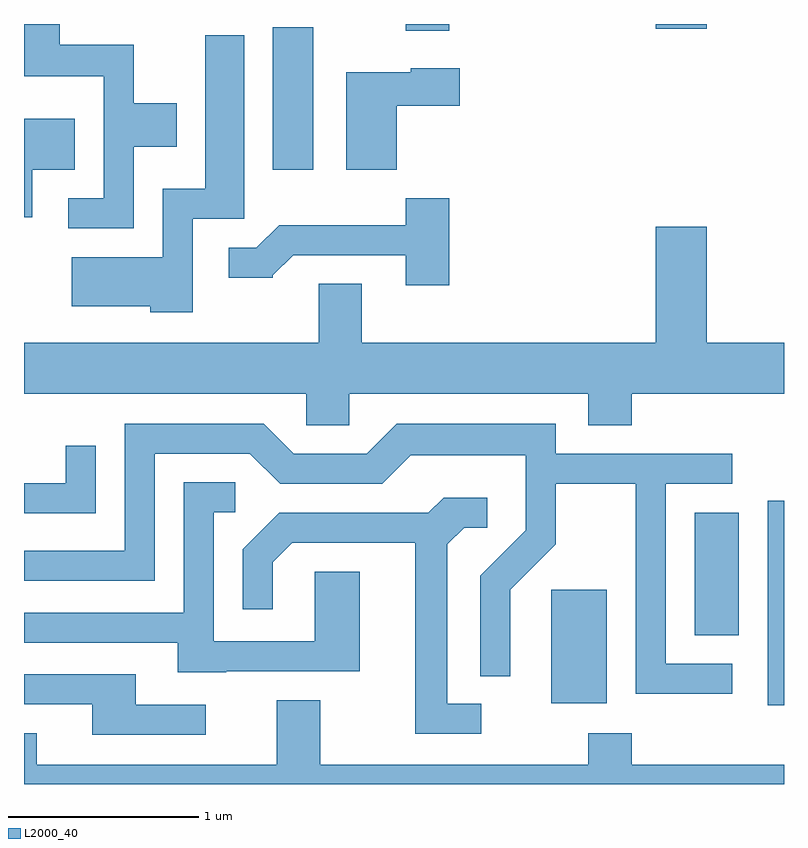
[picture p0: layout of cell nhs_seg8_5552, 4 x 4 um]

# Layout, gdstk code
import gdstk
lib = gdstk.Library(unit=1e-6, precision=1e-09)
def R(c, l, rs):  # rectangles x0, y0, x1, y1
    for r in rs: c.add(gdstk.rectangle(r[:2], r[2:], *l))
def P(c, l, *ps):  # polygons
    for p in ps: c.add(gdstk.Polygon(p, *l))
L2000_40 = (2000, 40)

nhs_seg8_5552 = lib.new_cell('nhs_seg8_5552')
R(nhs_seg8_5552, L2000_40, [(355.526,1854.756,355.611,1855.834), (354.386,1854.766,354.679,1855.364), (355.141,1855.126,355.374,1855.769), (352.921,1857.576,353.134,1858.324), (353.621,1858.306,353.849,1858.342), (354.936,1858.316,355.204,1858.342)])
P(nhs_seg8_5552, L2000_40, [(352.189,1857.696),(352.414,1857.696),(352.414,1857.924),(352.189,1857.924),(352.189,1858.234),(351.799,1858.234),(351.799,1858.342),(351.611,1858.342),(351.611,1858.066),(352.031,1858.066),(352.031,1857.424),(351.843,1857.424),(351.843,1857.266),(352.189,1857.266)],
  [(352.499,1857.316),(352.769,1857.316),(352.769,1858.284),(352.566,1858.284),(352.566,1857.474),(352.341,1857.474),(352.341,1857.114),(351.861,1857.114),(351.861,1856.856),(352.276,1856.856),(352.276,1856.826),(352.499,1856.826)],
  [(353.574,1857.911),(353.904,1857.911),(353.904,1858.109),(353.646,1858.109),(353.646,1858.089),(353.306,1858.089),(353.306,1857.576),(353.574,1857.576)],
  [(351.654,1857.576),(351.879,1857.576),(351.879,1857.844),(351.611,1857.844),(351.611,1857.326),(351.654,1857.326)],
  [(353.849,1857.424),(353.621,1857.424),(353.621,1857.284),(352.954,1857.284),(352.834,1857.164),(352.688,1857.164),(352.688,1857.006),(352.92,1857.006),(352.92,1857.02),(353.027,1857.126),(353.621,1857.126),(353.621,1856.966),(353.849,1856.966)],
  [(353.324,1856.396),(354.581,1856.396),(354.581,1856.231),(354.809,1856.231),(354.809,1856.396),(355.611,1856.396),(355.611,1856.664),(355.204,1856.664),(355.204,1857.274),(354.936,1857.274),(354.936,1856.664),(353.389,1856.664),(353.389,1856.974),(353.161,1856.974),(353.161,1856.664),(351.611,1856.664),(351.611,1856.396),(353.096,1856.396),(353.096,1856.231),(353.324,1856.231)],
  [(355.338,1854.974),(354.989,1854.974),(354.989,1855.921),(355.338,1855.921),(355.338,1856.079),(354.409,1856.079),(354.409,1856.239),(353.574,1856.239),(353.414,1856.079),(353.032,1856.079),(352.872,1856.239),(352.141,1856.239),(352.141,1855.569),(351.611,1855.569),(351.611,1855.411),(352.299,1855.411),(352.299,1856.081),(352.799,1856.081),(352.959,1855.921),(353.497,1855.921),(353.647,1856.071),(354.251,1856.071),(354.251,1855.677),(354.011,1855.437),(354.011,1854.908),(354.169,1854.908),(354.169,1855.364),(354.409,1855.604),(354.409,1855.921),(354.831,1855.921),(354.831,1854.816),(355.338,1854.816)],
  [(351.989,1856.123),(351.831,1856.123),(351.831,1855.924),(351.611,1855.924),(351.611,1855.766),(351.989,1855.766)],
  [(352.675,1854.936),(353.379,1854.936),(353.379,1855.459),(353.141,1855.459),(353.141,1855.094),(352.609,1855.094),(352.609,1855.771),(352.723,1855.771),(352.723,1855.929),(352.451,1855.929),(352.451,1855.244),(351.611,1855.244),(351.611,1855.086),(352.421,1855.086),(352.421,1854.931),(352.675,1854.931)],
  [(354.018,1854.764),(353.839,1854.764),(353.839,1855.604),(353.927,1855.691),(354.048,1855.691),(354.048,1855.849),(353.819,1855.849),(353.739,1855.769),(352.954,1855.769),(352.761,1855.577),(352.761,1855.263),(352.919,1855.263),(352.919,1855.509),(353.022,1855.611),(353.671,1855.611),(353.671,1854.606),(354.018,1854.606)],
  [(352.568,1854.759),(352.199,1854.759),(352.199,1854.919),(351.611,1854.919),(351.611,1854.761),(351.971,1854.761),(351.971,1854.601),(352.568,1854.601)],
  [(355.611,1854.444),(354.809,1854.444),(354.809,1854.609),(354.581,1854.609),(354.581,1854.444),(353.169,1854.444),(353.169,1854.784),(352.941,1854.784),(352.941,1854.444),(351.679,1854.444),(351.679,1854.609),(351.611,1854.609),(351.611,1854.342),(355.611,1854.342)])

lib.write_gds('nhs_seg8_5552.gds')
